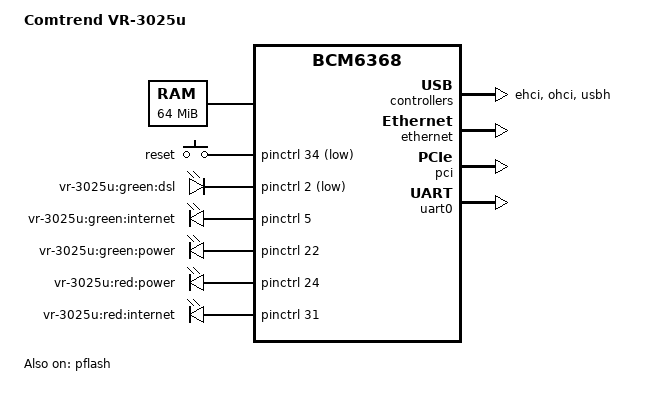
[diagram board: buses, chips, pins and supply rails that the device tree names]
// SPDX-License-Identifier: GPL-2.0-or-later

/dts-v1/;

#include "bcm6368.dtsi"

/ {
	compatible = "comtrend,vr-3025u", "brcm,bcm6368";
	model = "Comtrend VR-3025u";

	aliases {
		led-boot = &power_green;
		led-dsl = &dsl_green;
		led-failsafe = &power_green;
		led-internet = &internet_green;
		led-running = &power_green;
		led-upgrade = &power_green;
	};

	chosen {
		bootargs = "console=ttyS0,115200 earlycon";
	};

	memory@0 {
		device_type = "memory";
		reg = <0x00000000 0x04000000>;
	};

	keys {
		compatible = "gpio-keys-polled";
		#address-cells = <1>;
		#size-cells = <0>;
		poll-interval = <20>;

		reset {
			label = "reset";
			gpios = <&pinctrl 34 1>;
			linux,code = <KEY_RESTART>;
			debounce-interval = <60>;
		};
	};

	leds {
		compatible = "gpio-leds";

		dsl_green: led@2 {
			label = "vr-3025u:green:dsl";
			gpios = <&pinctrl 2 1>;
		};

		internet_green: led@5 {
			label = "vr-3025u:green:internet";
			gpios = <&pinctrl 5 0>;
		};

		power_green: led@22 {
			label = "vr-3025u:green:power";
			gpios = <&pinctrl 22 0>;
			default-state = "on";
		};

		power_red: led@24 {
			label = "vr-3025u:red:power";
			gpios = <&pinctrl 24 0>;
		};

		internet_red: led@31 {
			label = "vr-3025u:red:internet";
			gpios = <&pinctrl 31 0>;
		};
	};

	bcm43222-sprom {
		compatible = "brcm,bcm43222-sprom";

		pci-bus = <0>;
		pci-dev = <1>;

		mtd-mac-address = <&cfe 0x6a0>;
		mtd-mac-address-increment = <1>;

		brcm,sprom-fixups = <97 0xfeb3>,
				    <98 0x1618>,
				    <99 0xfab0>,
				    <113 0xfed1>,
				    <114 0x1609>,
				    <115 0xfad9>;
	};
};

&ehci {
	status = "okay";
};

&ethernet {
	status = "okay";

	mtd-mac-address = <&cfe 0x6a0>;

	ports {
		#address-cells = <1>;
		#size-cells = <0>;

		port@0 {
			reg = <0>;
			label = "fe1";
			brcm,phy-id = <1>;
		};

		port@1 {
			reg = <1>;
			label = "fe2";
			brcm,phy-id = <2>;
		};

		port@2 {
			reg = <2>;
			label = "fe3";
			brcm,phy-id = <3>;
		};

		port@3 {
			reg = <3>;
			label = "fe4";
			brcm,phy-id = <4>;
		};
	};
};

&ohci {
	status = "okay";
};

&pci {
	status = "okay";
};

&pflash {
	status = "okay";

	partitions {
		compatible = "fixed-partitions";
		#address-cells = <1>;
		#size-cells = <1>;

		cfe: partition@0 {
			reg = <0x0000000 0x0200000>;
			label = "cfe";
			read-only;
		};

		partition@20000 {
			reg = <0x0020000 0x1fc0000>;
			label = "firmware";
			compatible = "brcm,bcm963xx-imagetag";
		};

		partition@1fe0000 {
			reg = <0x1fe0000 0x020000>;
			label = "nvram";
		};
	};
};

&pinctrl {
	pinctrl-names = "default";
	pinctrl-0 = <&pinctrl_ephy0_led &pinctrl_ephy1_led
		     &pinctrl_ephy2_led &pinctrl_ephy3_led>;
};

&uart0 {
	status = "okay";
};

&usbh {
	status = "okay";
};
